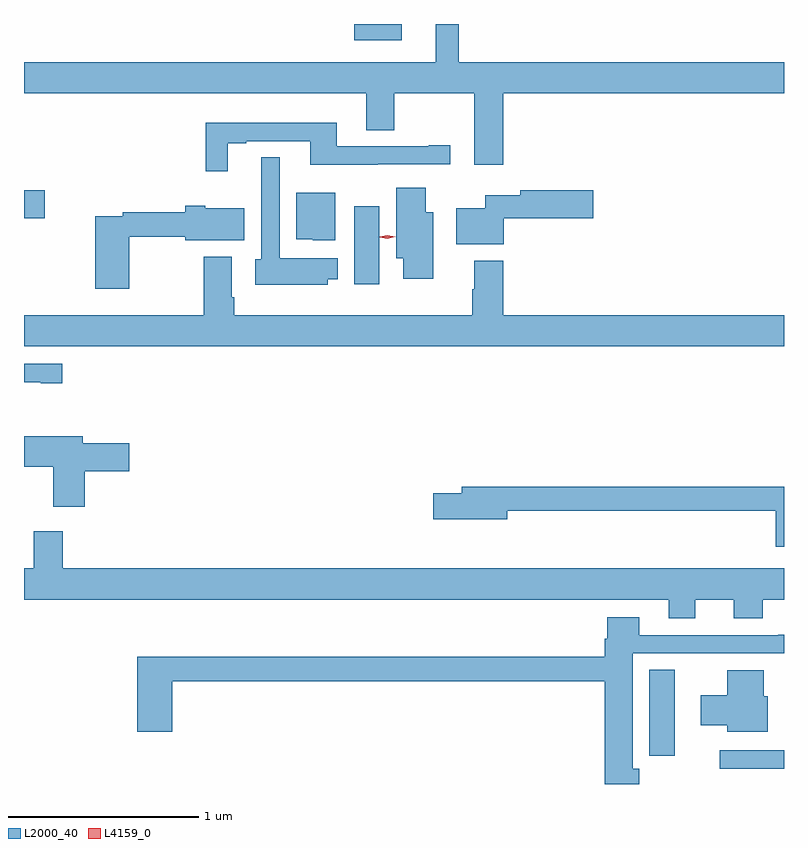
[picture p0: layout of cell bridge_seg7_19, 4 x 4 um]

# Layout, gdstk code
import gdstk
lib = gdstk.Library(unit=1e-6, precision=1e-09)
def R(c, l, rs):  # rectangles x0, y0, x1, y1
    for r in rs: c.add(gdstk.rectangle(r[:2], r[2:], *l))
def P(c, l, *ps):  # polygons
    for p in ps: c.add(gdstk.Polygon(p, *l))
L2000_40 = (2000, 40)
L4159_0 = (4159, 0)

bridge_seg7_19 = lib.new_cell('bridge_seg7_19')
R(bridge_seg7_19, L2000_40, [(1057.95,1064.994,1058.289,1065.09), (1057.58,1065.063,1057.714,1065.515), (1056.026,1067.544,1056.16,1067.953), (1054.289,1067.891,1054.399,1068.038), (1056.026,1068.827,1056.277,1068.913)])
P(bridge_seg7_19, L2000_40, [(1056.812,1068.548),(1058.289,1068.548),(1058.289,1068.712),(1056.577,1068.712),(1056.577,1068.913),(1056.455,1068.913),(1056.455,1068.712),(1054.289,1068.712),(1054.289,1068.548),(1056.089,1068.548),(1056.089,1068.355),(1056.237,1068.355),(1056.237,1068.548),(1056.659,1068.548),(1056.659,1068.171),(1056.812,1068.171)],
  [(1055.362,1068.285),(1055.458,1068.285),(1055.458,1068.297),(1055.795,1068.297),(1055.795,1068.172),(1056.152,1068.172),(1056.152,1068.174),(1056.532,1068.174),(1056.532,1068.275),(1056.419,1068.275),(1056.419,1068.27),(1055.935,1068.27),(1055.935,1068.394),(1055.245,1068.394),(1055.245,1068.138),(1055.362,1068.138)],
  [(1055.887,1067.57),(1055.941,1067.57),(1055.941,1067.68),(1055.634,1067.68),(1055.634,1068.212),(1055.538,1068.212),(1055.538,1067.675),(1055.507,1067.675),(1055.507,1067.54),(1055.887,1067.54)],
  [(1056.442,1067.923),(1056.403,1067.923),(1056.403,1068.052),(1056.248,1068.052),(1056.248,1067.681),(1056.284,1067.681),(1056.284,1067.571),(1056.442,1067.571)],
  [(1056.813,1067.891),(1057.285,1067.891),(1057.285,1068.038),(1056.9,1068.038),(1056.9,1068.013),(1056.717,1068.013),(1056.717,1067.944),(1056.563,1067.944),(1056.563,1067.753),(1056.813,1067.753)],
  [(1055.926,1068.025),(1055.723,1068.025),(1055.723,1067.78),(1055.808,1067.78),(1055.808,1067.774),(1055.926,1067.774)],
  [(1054.842,1067.793),(1055.138,1067.793),(1055.138,1067.774),(1055.449,1067.774),(1055.449,1067.944),(1055.242,1067.944),(1055.242,1067.957),(1055.138,1067.957),(1055.138,1067.921),(1054.81,1067.921),(1054.81,1067.901),(1054.664,1067.901),(1054.664,1067.52),(1054.842,1067.52)],
  [(1055.383,1067.476),(1055.383,1067.689),(1055.236,1067.689),(1055.236,1067.38),(1054.289,1067.38),(1054.289,1067.216),(1058.289,1067.216),(1058.289,1067.38),(1056.812,1067.38),(1056.812,1067.668),(1056.659,1067.668),(1056.659,1067.517),(1056.647,1067.517),(1056.647,1067.38),(1055.396,1067.38),(1055.396,1067.476)],
  [(1054.489,1067.124),(1054.289,1067.124),(1054.289,1067.028),(1054.376,1067.028),(1054.376,1067.023),(1054.489,1067.023)],
  [(1054.61,1066.559),(1054.843,1066.559),(1054.843,1066.706),(1054.597,1066.706),(1054.597,1066.744),(1054.29,1066.744),(1054.29,1066.582),(1054.442,1066.582),(1054.442,1066.371),(1054.61,1066.371)],
  [(1058.289,1066.478),(1056.593,1066.478),(1056.593,1066.442),(1056.444,1066.442),(1056.444,1066.307),(1056.832,1066.307),(1056.832,1066.35),(1058.246,1066.35),(1058.246,1066.163),(1058.289,1066.163)],
  [(1057.822,1065.884),(1058.024,1065.884),(1058.024,1065.785),(1058.177,1065.785),(1058.177,1065.884),(1058.289,1065.884),(1058.289,1066.048),(1054.493,1066.048),(1054.493,1066.243),(1054.34,1066.243),(1054.34,1066.048),(1054.289,1066.048),(1054.289,1065.884),(1057.682,1065.884),(1057.682,1065.785),(1057.822,1065.785)],
  [(1057.528,1064.992),(1057.492,1064.992),(1057.492,1065.6),(1058.289,1065.6),(1058.289,1065.698),(1058.26,1065.698),(1058.26,1065.696),(1057.528,1065.696),(1057.528,1065.79),(1057.358,1065.79),(1057.358,1065.677),(1057.346,1065.677),(1057.346,1065.583),(1054.886,1065.583),(1054.886,1065.189),(1055.069,1065.189),(1055.069,1065.454),(1057.346,1065.454),(1057.346,1064.913),(1057.528,1064.913)],
  [(1058.203,1065.375),(1058.182,1065.375),(1058.182,1065.511),(1057.991,1065.511),(1057.991,1065.379),(1057.851,1065.379),(1057.851,1065.221),(1057.991,1065.221),(1057.991,1065.188),(1058.203,1065.188)])
P(bridge_seg7_19, L4159_0, [(1056.202,1067.782),(1056.161,1067.791),(1056.161,1067.791),(1056.161,1067.792),(1056.202,1067.802),(1056.243,1067.793),(1056.244,1067.793),(1056.243,1067.793)])

lib.write_gds('bridge_seg7_19.gds')
